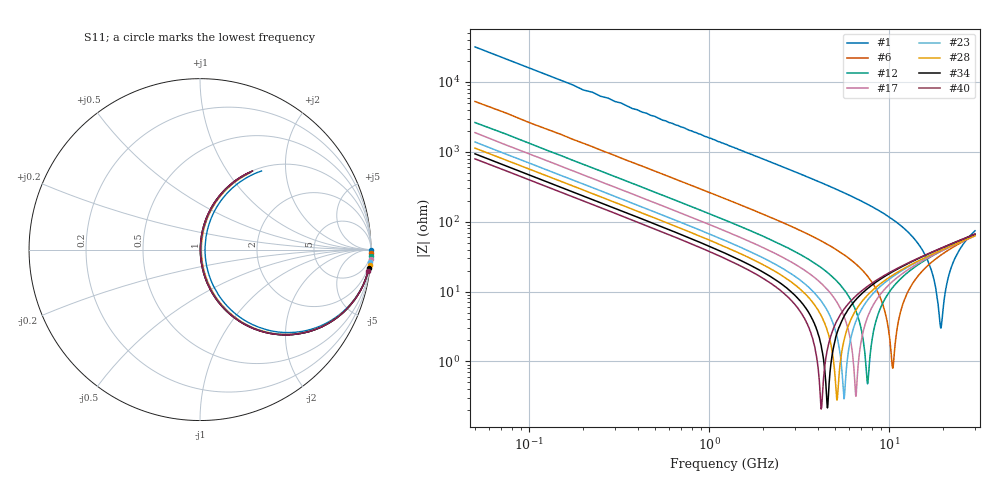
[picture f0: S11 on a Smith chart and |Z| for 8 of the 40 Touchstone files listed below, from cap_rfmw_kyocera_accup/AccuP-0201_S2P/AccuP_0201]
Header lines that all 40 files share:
!	AVX Thin Film Operation 	Date: April 2014
!	Description: Accu-P® Series, Thin Film  SMD RF Capacitor
# MHZ S MA R 50
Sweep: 50 MHz to 30 GHz
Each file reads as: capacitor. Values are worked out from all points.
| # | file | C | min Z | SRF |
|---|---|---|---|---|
| 1 | C0201SE0r1.s2p | 101 fF | 2.99 ohm | 19.38 GHz |
| 2 | C0201SE0r2.s2p | 200 fF | 1.94 ohm | 16.49 GHz |
| 3 | C0201SE0r3.s2p | 300 fF | 1.32 ohm | 14.68 GHz |
| 4 | C0201SE0r4.s2p | 400 fF | 1.01 ohm | 12.56 GHz |
| 5 | C0201SE0r5.s2p | 500 fF | 907 mohm | 11.23 GHz |
| 6 | C0201SE0r6.s2p | 600 fF | 800 mohm | 10.47 GHz |
| 7 | C0201SE0r7.s2p | 700 fF | 700 mohm | 9.576 GHz |
| 8 | C0201SE0r8.s2p | 799 fF | 620 mohm | 9.181 GHz |
| 9 | C0201SE0r9.s2p | 899 fF | 591 mohm | 8.764 GHz |
| 10 | C0201SE1r0.s2p | 999 fF | 512 mohm | 8.417 GHz |
| 11 | C0201SE1r1.s2p | 1.1 pF | 497 mohm | 8.026 GHz |
| 12 | C0201SE1r2.s2p | 1.2 pF | 477 mohm | 7.59 GHz |
| 13 | C0201SE1r3.s2p | 1.3 pF | 411 mohm | 7.383 GHz |
| 14 | C0201SE1r4.s2p | 1.4 pF | 397 mohm | 7.202 GHz |
| 15 | C0201SE1r5.s2p | 1.5 pF | 378 mohm | 7.045 GHz |
| 16 | C0201SE1r6.s2p | 1.6 pF | 322 mohm | 6.737 GHz |
| 17 | C0201SE1r7.s2p | 1.7 pF | 316 mohm | 6.536 GHz |
| 18 | C0201SE1r8.s2p | 1.8 pF | 314 mohm | 6.274 GHz |
| 19 | C0201SE1r9.s2p | 1.9 pF | 306 mohm | 6.259 GHz |
| 20 | C0201SE2r0.s2p | 2 pF | 304 mohm | 6.026 GHz |
| 21 | C0201SE2r1.s2p | 2.1 pF | 300 mohm | 5.881 GHz |
| 22 | C0201SE2r2.s2p | 2.2 pF | 295 mohm | 5.745 GHz |
| 23 | C0201SE2r3.s2p | 2.3 pF | 291 mohm | 5.619 GHz |
| 24 | C0201SE2r4.s2p | 2.4 pF | 288 mohm | 5.569 GHz |
| 25 | C0201SE2r5.s2p | 2.5 pF | 285 mohm | 5.39 GHz |
| 26 | C0201SE2r6.s2p | 2.6 pF | 282 mohm | 5.261 GHz |
| 27 | C0201SE2r7.s2p | 2.7 pF | 282 mohm | 5.227 GHz |
| 28 | C0201SE2r8.s2p | 2.8 pF | 279 mohm | 5.133 GHz |
| 29 | C0201SE2r9.s2p | 2.9 pF | 224 mohm | 5.043 GHz |
| 30 | C0201SE3r0.s2p | 3 pF | 224 mohm | 4.898 GHz |
| 31 | C0201SE3r1.s2p | 3.1 pF | 221 mohm | 4.818 GHz |
| 32 | C0201SE3r2.s2p | 3.2 pF | 222 mohm | 4.684 GHz |
| 33 | C0201SE3r3.s2p | 3.3 pF | 218 mohm | 4.612 GHz |
| 34 | C0201SE3r4.s2p | 3.4 pF | 216 mohm | 4.544 GHz |
| 35 | C0201SE3r5.s2p | 3.5 pF | 214 mohm | 4.591 GHz |
| 36 | C0201SE3r6.s2p | 3.6 pF | 213 mohm | 4.471 GHz |
| 37 | C0201SE3r7.s2p | 3.7 pF | 211 mohm | 4.465 GHz |
| 38 | C0201SE3r8.s2p | 3.8 pF | 212 mohm | 4.352 GHz |
| 39 | C0201SE3r9.s2p | 3.9 pF | 207 mohm | 4.296 GHz |
| 40 | C0201SE4r0.s2p | 4 pF | 208 mohm | 4.2 GHz |
